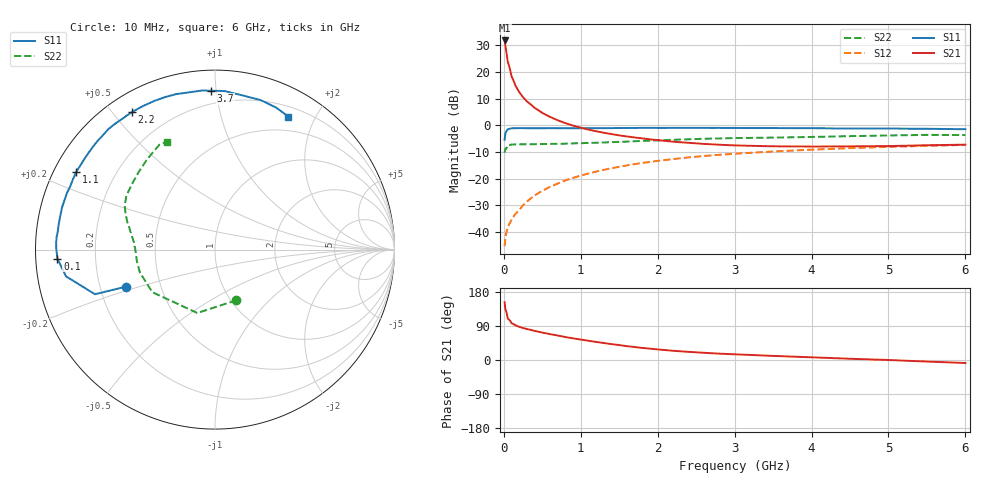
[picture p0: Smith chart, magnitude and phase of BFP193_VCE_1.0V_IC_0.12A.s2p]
! Infineon Technologies  Discrete & RF Semiconductors
! BFP193
! VCE =  1.0 V,  IC = 0.12 A
! Common Emitter S-Parameters:  Jan 2017
# GHz  S  MA  R  50
!  f  S11  S21  S12  S22
! GHz  MAG  ANG  MAG  ANG  MAG  ANG  MAG  ANG
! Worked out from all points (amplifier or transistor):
!   77 points, 10 MHz to 6 GHz, reference 50 ohm
!   highest |S21| = 31.9 dB at 10 MHz (marker M1)
!   |S21| within 3 dB of that: start of sweep to 25.73 MHz
!   unconditionally stable (mu >= 1): start of sweep to 19.55 MHz; 112.2 MHz to end of sweep
!   at 130 MHz: K = 1.04, MAG = 24.1 dB, |S12| = -34.1 dB
!   at 2.2 GHz: K = 1.10, MAG = 1.4 dB, |S12| = -12.7 dB
!   at 6 GHz: K = 1.08, MAG = -1.7 dB, |S12| = -7.3 dB
!   S11 on the Smith chart (normalised r, x): 10 MHz: 0.31, -0.18; 100 MHz: 0.06, -0.03; 1.1 GHz: 0.06, +0.26; 2.2 GHz: 0.07, +0.56; 3.7 GHz: 0.12, +0.97; 6 GHz: 0.32, +1.65
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0.01  0.5358 -157.4  39.13 152.5  0.0054 53.9  0.3065 -67.1
0.02  0.7136 -159.6  30.95 133.7  0.0078 45.8  0.3667 -105.6
0.03  0.7541 -163.4  25.51 128.8  0.0092 45.4  0.3635 -120.1
0.05  0.8434 -169.8  15.76 109.3  0.0121 44.9  0.4221 -145.8
0.1  0.8795 -176.7  8.31 97.0  0.0169 55.2  0.4375 -163.0
0.15  0.884 179.9  5.589 91.6  0.0216 59.6  0.4386 -169.2
0.2  0.8857 177.6  4.203 87.5  0.0257 64.3  0.4404 -172.7
0.25  0.8855 175.5  3.366 84.3  0.0317 66.7  0.44 -174.9
0.3  0.8817 173.6  2.812 81.7  0.037 67.7  0.4409 -176.7
0.4  0.8822 170.4  2.127 76.7  0.0481 69.9  0.4427 -178.9
0.5  0.8823 167.3  1.71 72.3  0.0591 70.7  0.4449 179.2
0.6  0.8839 164.4  1.44 68.3  0.0702 69.5  0.4488 177.5
0.8  0.8832 158.9  1.1 60.6  0.0928 68.4  0.4533 174.8
1.1  0.8856 150.8  0.832 50.7  0.1247 64.8  0.467 171.2
1.6  0.8914 137.2  0.618 36.5  0.177 57.1  0.4948 165.3
2.1  0.8936 123.8  0.51 26.2  0.2237 48.7  0.5287 159.5
2.2  0.8954 121.2  0.493 24.3  0.2324 47.2  0.5359 158.3
3.1  0.8901 102.0  0.417 14.2  0.2988 32.8  0.579 147.5
3.7  0.8854 91.4  0.402 9.3  0.333 24.5  0.5946 139.0
4.1  0.8813 85.1  0.4 6.3  0.3541 19.2  0.6092 133.3
5.1  0.8681 71.8  0.411 -0.8  0.3977 6.8  0.6489 121.0
6  0.8463 61.1  0.434 -7.9  0.4294 -3.4  0.6578 114.1
